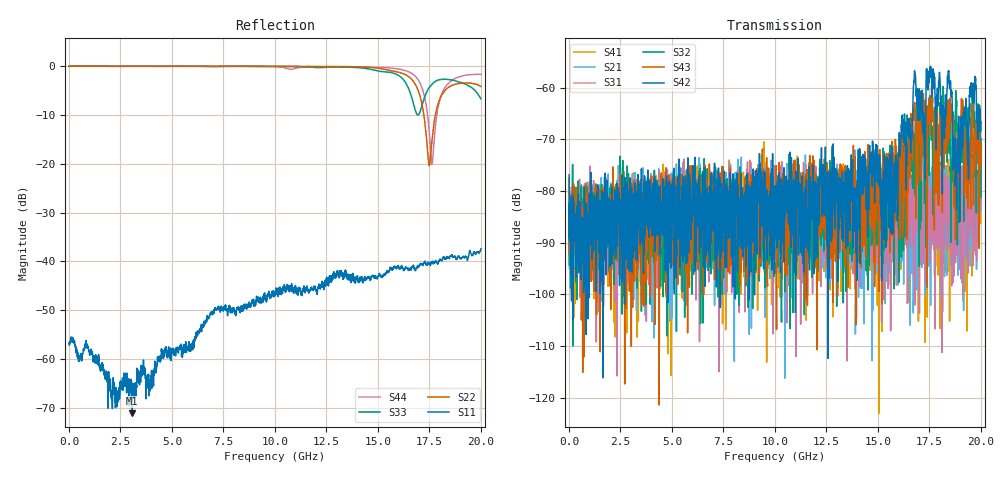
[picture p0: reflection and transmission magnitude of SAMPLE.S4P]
!Keysight Technologies PLTS 2015, Build 20150320.1
!FILE: C:\Users\sitester\Documents\Keysight PLTS 2015\Data\PLTS1.dut
!$DUT_CFG_DESC: Default 4-Port Configuration
!$NUMBER_PORTS: 4
!$DIFF_PORT_MAP: 1|2P|2|2P|0|UC|0|UC|
!$PORT_MAP: 1|1|<<<<<<|2|2|>>>>>>|3|3|<<<<<<|4|4|>>>>>>|
!Date: Wednesday, February 03, 2016 10:38:00 AM
!S4P File: Measurements: <S11,S12,S13,S14>,
!<S21,S22,S23,S24>,
!<S31,S32,S33,S34>,
!<S41,S42,S43,S44>:
# MHz S  RI  R 50
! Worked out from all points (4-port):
!   2000 points, 10 MHz to 20 GHz, reference 50 ohm
!   strongest paths, dB at 10 MHz, 5.01 GHz, 10.01 GHz, 15.01 GHz, 20 GHz:
!     S42: -76.9, -84.9, -79.1, -73.0, -66.7
!     S43: -82.5, -91.2, -82.3, -75.3, -70.8
!     S32: -94.3, -94.2, -88.2, -81.6, -69.8
!     S31: -78.4, -89.1, -85.1, -73.1, -76.4
!     S21: -80.9, -104.6, -80.8, -88.2, -83.6
!     S41: -77.6, -86.6, -80.1, -88.6, -77.1
!   lowest |S11| = -71.2 dB at 3.07 GHz (marker M1), VSWR 1.00, Z = 50 + j0.0139 ohm
!   |S11| at or under -10 dB: start of sweep to end of sweep
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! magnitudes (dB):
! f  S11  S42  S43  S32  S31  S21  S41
! 10 MHz  -57.1  -76.9  -82.5  -94.3  -78.4  -80.9  -77.6
! 3.07 GHz  -71.2  -95.7  -89.1  -84.8  -84.4  -86.1  -87.3
! 15.87 GHz  -41.2  -78.8  -74.3  -75.0  -80.8  -87.4  -78.6
! 17.63 GHz  -40.2  -61.9  -62.6  -67.7  -82.0  -75.4  -80.8
! 18.5 GHz  -38.9  -60.2  -62.0  -68.8  -82.5  -83.7  -79.1
! 18.73 GHz  -38.9  -69.8  -70.1  -79.0  -76.6  -83.5  -84.1
! 20 GHz  -37.4  -66.7  -70.8  -69.8  -76.4  -83.6  -77.1
